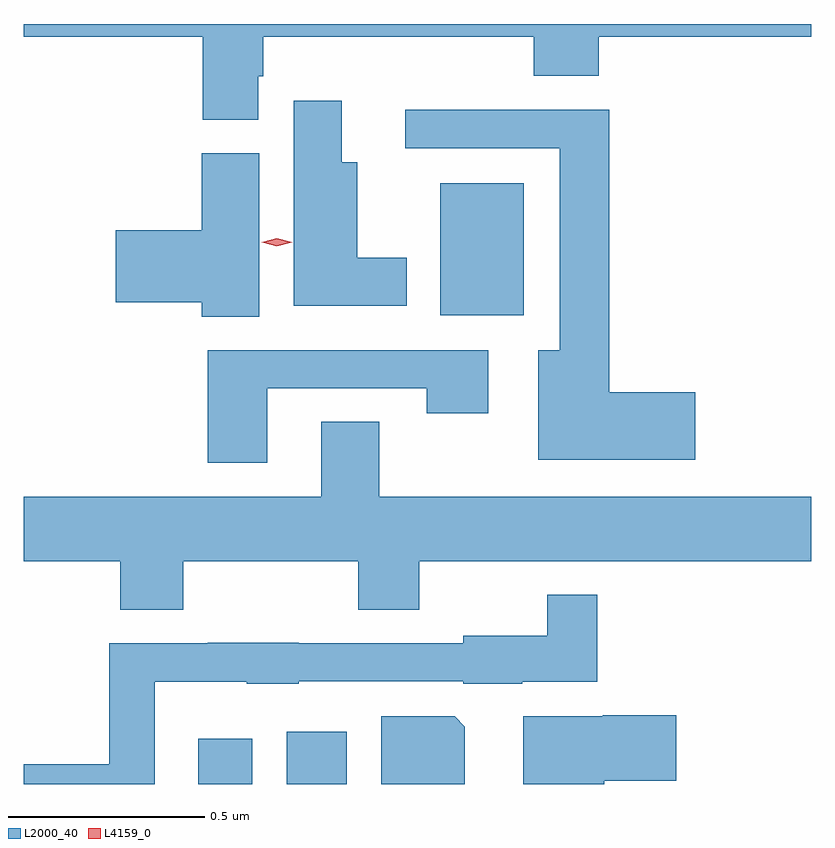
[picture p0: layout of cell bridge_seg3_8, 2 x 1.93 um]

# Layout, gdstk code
import gdstk
lib = gdstk.Library(unit=1e-6, precision=1e-09)
def R(c, l, rs):  # rectangles x0, y0, x1, y1
    for r in rs: c.add(gdstk.rectangle(r[:2], r[2:], *l))
def P(c, l, *ps):  # polygons
    for p in ps: c.add(gdstk.Polygon(p, *l))
L2000_40 = (2000, 40)
L4159_0 = (4159, 0)

bridge_seg3_8 = lib.new_cell('bridge_seg3_8')
R(bridge_seg3_8, L2000_40, [(694.367,746.97,694.504,747.085), (694.592,746.97,694.744,747.103), (694.982,748.16,695.194,748.495)])
P(bridge_seg3_8, L2000_40, [(694.519,748.767),(694.532,748.767),(694.532,748.868),(695.219,748.868),(695.219,748.769),(695.384,748.769),(695.384,748.868),(695.924,748.868),(695.924,748.9),(693.924,748.9),(693.924,748.868),(694.379,748.868),(694.379,748.657),(694.519,748.657)],
  [(694.897,748.306),(694.771,748.306),(694.771,748.549),(694.732,748.549),(694.732,748.705),(694.61,748.705),(694.61,748.184),(694.897,748.184)],
  [(695.629,747.965),(695.411,747.965),(695.411,748.682),(694.893,748.682),(694.893,748.584),(695.285,748.584),(695.285,748.072),(695.231,748.072),(695.231,747.794),(695.629,747.794)],
  [(694.522,748.572),(694.376,748.572),(694.376,748.376),(694.158,748.376),(694.158,748.193),(694.376,748.193),(694.376,748.156),(694.522,748.156)],
  [(694.543,747.975),(694.948,747.975),(694.948,747.912),(695.104,747.912),(695.104,748.071),(694.391,748.071),(694.391,747.786),(694.543,747.786)],
  [(694.679,747.89),(694.679,747.7),(693.924,747.7),(693.924,747.536),(694.169,747.536),(694.169,747.412),(694.329,747.412),(694.329,747.536),(694.774,747.536),(694.774,747.412),(694.929,747.412),(694.929,747.536),(695.924,747.536),(695.924,747.7),(694.827,747.7),(694.827,747.89)],
  [(694.257,747.23),(694.491,747.23),(694.491,747.224),(694.623,747.224),(694.623,747.231),(695.04,747.231),(695.04,747.224),(695.19,747.224),(695.19,747.23),(695.381,747.23),(695.381,747.451),(695.253,747.451),(695.253,747.346),(695.04,747.346),(695.04,747.327),(694.623,747.327),(694.623,747.329),(694.391,747.329),(694.391,747.327),(694.141,747.327),(694.141,747.02),(693.924,747.02),(693.924,746.97),(694.257,746.97)],
  [(695.398,746.978),(695.581,746.978),(695.581,747.144),(695.394,747.144),(695.394,747.142),(695.192,747.142),(695.192,746.97),(695.398,746.97)],
  [(695.044,747.116),(695.018,747.142),(694.832,747.142),(694.832,746.97),(695.044,746.97)])
P(bridge_seg3_8, L4159_0, [(694.567,748.336),(694.528,748.346),(694.528,748.346),(694.528,748.346),(694.567,748.356),(694.606,748.346),(694.606,748.346),(694.606,748.346)])

lib.write_gds('bridge_seg3_8.gds')
